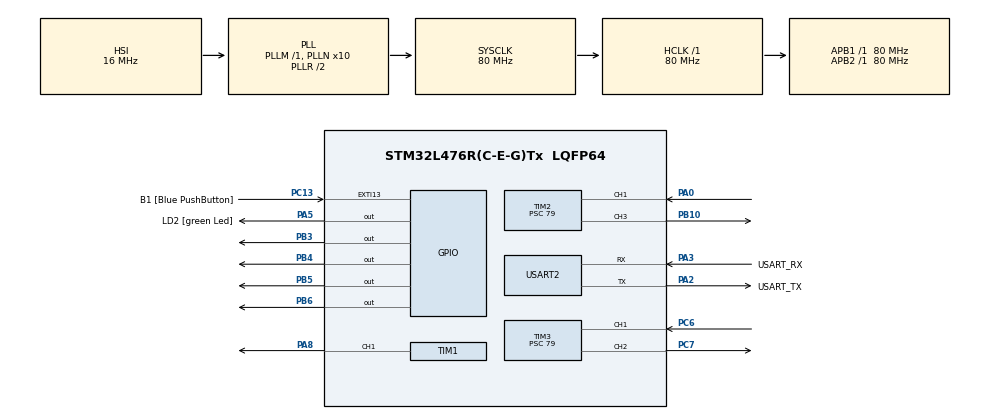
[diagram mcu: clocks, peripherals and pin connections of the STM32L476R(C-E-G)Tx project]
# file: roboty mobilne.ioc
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Mcu.Family=STM32L4
Mcu.Name=STM32L476R(C-E-G)Tx
Mcu.Package=LQFP64
NVIC.PriorityGroup=NVIC_PRIORITYGROUP_4
NVIC.USART2_IRQn=true\:0\:0\:false\:false\:true\:true\:true\:true
PA0.Signal=S_TIM2_CH1
PA13\ (JTMS-SWDIO).GPIO_Label=TMS
PA13\ (JTMS-SWDIO).Mode=Serial_Wire
PA13\ (JTMS-SWDIO).Signal=SYS_JTMS-SWDIO
PA14\ (JTCK-SWCLK).GPIO_Label=TCK
PA14\ (JTCK-SWCLK).Mode=Serial_Wire
PA14\ (JTCK-SWCLK).Signal=SYS_JTCK-SWCLK
PA2.GPIO_Label=USART_TX
PA2.GPIO_Mode=GPIO_MODE_AF_PP
PA2.GPIO_PuPd=GPIO_NOPULL
PA2.GPIO_Speed=GPIO_SPEED_FREQ_VERY_HIGH
PA2.Mode=Asynchronous
PA2.Signal=USART2_TX
PA3.GPIO_Label=USART_RX
PA3.GPIO_Mode=GPIO_MODE_AF_PP
PA3.GPIO_PuPd=GPIO_NOPULL
PA3.GPIO_Speed=GPIO_SPEED_FREQ_VERY_HIGH
PA3.Mode=Asynchronous
PA3.Signal=USART2_RX
PA5.GPIO_Label=LD2 [green Led]
PA5.GPIO_ModeDefaultOutputPP=GPIO_MODE_OUTPUT_PP
PA5.GPIO_PuPd=GPIO_NOPULL
PA5.GPIO_Speed=GPIO_SPEED_FREQ_LOW
PA5.Signal=GPIO_Output
PA8.Signal=S_TIM1_CH1
PB10.Signal=S_TIM2_CH3
PB3\ (JTDO-TRACESWO).Signal=GPIO_Output
PB4\ (NJTRST).Signal=GPIO_Output
PB5.Signal=GPIO_Output
PB6.Signal=GPIO_Output
PC13.GPIO_Label=B1 [Blue PushButton]
PC13.GPIO_ModeDefaultEXTI=GPIO_MODE_IT_FALLING
PC13.GPIO_PuPd=GPIO_NOPULL
PC13.Signal=GPXTI13
PC14-OSC32_IN\ (PC14).Mode=LSE-External-Oscillator
PC14-OSC32_IN\ (PC14).Signal=RCC_OSC32_IN
PC15-OSC32_OUT\ (PC15).Mode=LSE-External-Oscillator
PC15-OSC32_OUT\ (PC15).Signal=RCC_OSC32_OUT
PC6.Signal=S_TIM3_CH1
PC7.Signal=S_TIM3_CH2
PH0-OSC_IN\ (PH0).Signal=RCC_OSC_IN
PH1-OSC_OUT\ (PH1).Signal=RCC_OSC_OUT
ProjectManager.HeapSize=0x200
ProjectManager.StackSize=0x400
ProjectManager.TargetToolchain=STM32CubeIDE
RCC.ADCFreq_Value=64000000
RCC.AHBFreq_Value=80000000
RCC.APB1Freq_Value=80000000
RCC.APB1TimFreq_Value=80000000
RCC.APB2Freq_Value=80000000
RCC.APB2TimFreq_Value=80000000
RCC.CortexFreq_Value=80000000
RCC.HCLKFreq_Value=80000000
RCC.HSE_VALUE=8000000
RCC.HSI_VALUE=16000000
RCC.MSI_VALUE=4000000
RCC.PLLN=10
RCC.PLLSourceVirtual=RCC_PLLSOURCE_HSI
RCC.PREFETCH_ENABLE=1
RCC.SYSCLKFreq_VALUE=80000000
RCC.SYSCLKSource=RCC_SYSCLKSOURCE_PLLCLK
RCC.USBFreq_Value=64000000
RCC.VCOOutputFreq_Value=160000000
SH.S_TIM1_CH1.0=TIM1_CH1,PWM Generation1 CH1
SH.S_TIM2_CH1.0=TIM2_CH1,Input_Capture1_from_TI1
SH.S_TIM2_CH3.0=TIM2_CH3,PWM Generation3 CH3
SH.S_TIM3_CH1.0=TIM3_CH1,Input_Capture1_from_TI1
SH.S_TIM3_CH2.0=TIM3_CH2,PWM Generation2 CH2
TIM1.Channel-PWM\ Generation1\ CH1=TIM_CHANNEL_1
TIM1.Period=999
TIM1.Prescaler=79
TIM2.Channel-Input_Capture1_from_TI1=TIM_CHANNEL_1
TIM2.Channel-PWM\ Generation3\ CH3=TIM_CHANNEL_3
TIM2.Period=999
TIM2.Prescaler=79
TIM2.Pulse-PWM\ Generation3\ CH3=10
TIM3.Channel-Input_Capture1_from_TI1=TIM_CHANNEL_1
TIM3.Channel-PWM\ Generation2\ CH2=TIM_CHANNEL_2
TIM3.ICPolarity_CH1=TIM_INPUTCHANNELPOLARITY_FALLING
TIM3.Period=999999
TIM3.Prescaler=79
TIM3.Pulse-PWM\ Generation2\ CH2=10
USART2.VirtualMode-Asynchronous=VM_ASYNC
VP_TIM1_VS_ClockSourceINT.Mode=Internal
VP_TIM2_VS_ClockSourceINT.Mode=Internal
VP_TIM3_VS_ClockSourceINT.Mode=Internal
board=NUCLEO-L476RG

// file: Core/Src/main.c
/* USER CODE BEGIN Header */
/**
  ******************************************************************************
  * @file           : main.c
  * @brief          : Main program body
  ******************************************************************************
  * @attention
  *
  * Copyright (c) 2024 STMicroelectronics.
  * All rights reserved.
  *
  * This software is licensed under terms that can be found in the LICENSE file
  * in the root directory of this software component.
  * If no LICENSE file comes with this software, it is provided AS-IS.
  *
  ******************************************************************************
  */
/* USER CODE END Header */
#include "main.h"
#include "tim.h"
#include "usart.h"
#include "gpio.h"

/* USER CODE BEGIN Includes */
#include <string.h>
#include <stdlib.h>
#include <stdio.h>
/* USER CODE END Includes */

void SystemClock_Config(void);

/* USER CODE BEGIN 0 */

int x=800;
int left,right;
char tx_buffer[27]="L75R80DFC0X";
char array[27]="";
char receive[1]="N";
int length = sizeof(tx_buffer) / sizeof(char);
enum DIRECTION  {FRONT,BACK,LEFT,RIGHT,NONE};
enum DIRECTION direction = NONE;
uint32_t cm_value = 1000;
int sumCharArray(const char *array, int length) {
    int sum = 0;
    for (int i = 0; i < length; ++i) {
        sum += array[i];
    }
    return sum;
}
void intToCharArray(int number, char *result) {
    sprintf(result, "%d", number);
}

void senddata(){
//	memset(tx_buffer, '\0', sizeof(tx_buffer));
//	mem	set(array, '\0', sizeof(array));
	int abc=0;
	if(receive[0]==70){
			receive[0]='F';

		}
		else if(receive[0]==66){
			receive[0]='B';;

		}
		else if(receive[0]==76){
			receive[0]='L';

		}
		else if(receive[0]==82){
			receive[0]='R';

		}
		else{
			receive[0]='N';
		}
	if(cm_value>20){
		abc=0;
	}
	else
		abc=1;
	char tx_buffer[27]="";
	char buffer[27];
	strcat(tx_buffer,"l");
	sprintf(buffer,"%d", left/10);
	strcat(tx_buffer,buffer);
	strcat(tx_buffer,"r");
	sprintf(buffer,"%d", right/10);
	strcat(tx_buffer,buffer);
	strcat(tx_buffer,"D");
	sprintf(buffer,"%d", receive[0]);
	strcat(tx_buffer,buffer);
	strcat(tx_buffer,"C");
	sprintf(buffer,"%d", abc);
	strcat(tx_buffer,buffer);
	strcat(tx_buffer,"X");
	int sum=sumCharArray(tx_buffer, length);

	intToCharArray(sum, array);

	strcat(tx_buffer,array);
	HAL_UART_Transmit(&huart2, tx_buffer, 27, 10);
}
void changedir(){
	 left=x;
	 right=x;
	 TIM1->CCR1 = left;
	 TIM2->CCR3 = right;
	if(receive[0]==70){
		direction=FRONT;

	}
	else if(receive[0]==66){
		direction=BACK;

	}
	else if(receive[0]==76){
		direction=LEFT;

	}
	else if(receive[0]==82){
		direction=RIGHT;

	}
	else if(receive[0]==48){
		x=0;
	}
	else if(receive[0]==49){
		x=200;
	}
	else if(receive[0]==50){
		x=400;
		}
	else if(receive[0]==51){
		x=600;
		}
	else if(receive[0]==52){
		x=800;
		}
	else if(receive[0]==53){
		x=1000;
		}

	else{
		direction=NONE;

		 left=0;
		 right=0;
	}

	if(direction==FRONT){
				 HAL_GPIO_WritePin(GPIOB, GPIO_PIN_4, 1);
				 HAL_GPIO_WritePin(GPIOB, GPIO_PIN_5, 0);
				 HAL_GPIO_WritePin(GPIOB, GPIO_PIN_3, 1);
				 HAL_GPIO_WritePin(GPIOB, GPIO_PIN_6, 0);
	}
	else if(direction==BACK){
				 HAL_GPIO_WritePin(GPIOB, GPIO_PIN_4, 0);
				 HAL_GPIO_WritePin(GPIOB, GPIO_PIN_5, 1);
				 HAL_GPIO_WritePin(GPIOB, GPIO_PIN_3, 0);
				 HAL_GPIO_WritePin(GPIOB, GPIO_PIN_6, 1);
	}
	else if(direction==RIGHT){
		 HAL_GPIO_WritePin(GPIOB, GPIO_PIN_4, 1);
		 HAL_GPIO_WritePin(GPIOB, GPIO_PIN_5, 0);
		 HAL_GPIO_WritePin(GPIOB, GPIO_PIN_3, 0);
		 HAL_GPIO_WritePin(GPIOB, GPIO_PIN_6, 1);
		}
	else if(direction==LEFT){
		 HAL_GPIO_WritePin(GPIOB, GPIO_PIN_4, 0);
		 HAL_GPIO_WritePin(GPIOB, GPIO_PIN_5, 1);
		 HAL_GPIO_WritePin(GPIOB, GPIO_PIN_3, 1);
		 HAL_GPIO_WritePin(GPIOB, GPIO_PIN_6, 0);
		}
	else{
		 HAL_GPIO_WritePin(GPIOB, GPIO_PIN_4, 0);
		 HAL_GPIO_WritePin(GPIOB, GPIO_PIN_5, 0);
		 HAL_GPIO_WritePin(GPIOB, GPIO_PIN_3, 0);
		 HAL_GPIO_WritePin(GPIOB, GPIO_PIN_6, 0);
	}
}
/* USER CODE END 0 */

int main(void)
{

  /* MCU Configuration--------------------------------------------------------*/

  /* Reset of all peripherals, Initializes the Flash interface and the Systick. */
  HAL_Init();

  /* Configure the system clock */
  SystemClock_Config();

  /* Initialize all configured peripherals */
  MX_GPIO_Init();
  MX_USART2_UART_Init();
  MX_TIM1_Init();
  MX_TIM2_Init();
  MX_TIM3_Init();
  /* USER CODE BEGIN 2 */

	 left=x;
	 right=x;
//	 HAL_GPIO_WritePin(GPIOB, GPIO_PIN_4, 1);
//	 HAL_GPIO_WritePin(GPIOB, GPIO_PIN_5, 0);
//	 HAL_GPIO_WritePin(GPIOB, GPIO_PIN_3, 1);
//	 HAL_GPIO_WritePin(GPIOB, GPIO_PIN_6, 0);
	 TIM1->CCR1 = left;
	 TIM2->CCR3 = right;
	 HAL_TIM_PWM_Start(&htim1, TIM_CHANNEL_1);
	 HAL_TIM_PWM_Start(&htim2, TIM_CHANNEL_3);

	 HAL_TIM_IC_Start(&htim3, TIM_CHANNEL_1);
	 HAL_TIM_PWM_Start(&htim3, TIM_CHANNEL_2);

	 uint32_t current_time_led = HAL_GetTick();
	 uint32_t current_time_sensor = HAL_GetTick();
	 uint32_t value = 0;

  /* USER CODE END 2 */

  /* Infinite loop */
  /* USER CODE BEGIN WHILE */
  while (1)
  {
	 //	  receive[0]="N";
    /* USER CODE END WHILE */

    /* USER CODE BEGIN 3 */

		  if(current_time_sensor + 100 < HAL_GetTick()){
	  	  value = HAL_TIM_ReadCapturedValue(&htim3, TIM_CHANNEL_1);
	  	  cm_value = ((value - 2235) / 58.0f); //2235
	  	 }

		  if(cm_value < 6){
			  HAL_GPIO_WritePin(LD2_GPIO_Port, LD2_Pin, 1);
		  }
		  else if(cm_value > 150){
			  HAL_GPIO_WritePin(LD2_GPIO_Port, LD2_Pin, 0);
		  }
		  else if(current_time_led + (cm_value * 10) < HAL_GetTick()){
	  		  HAL_GPIO_TogglePin(LD2_GPIO_Port, LD2_Pin);
	  		  current_time_led = HAL_GetTick();
	  	  }

//	 if(HAL_GetTick()%4000>2000){
//		 left=x;
//		 right=x;
//		 HAL_GPIO_WritePin(GPIOB, GPIO_PIN_4, 1);
//		 HAL_GPIO_WritePin(GPIOB, GPIO_PIN_5, 0);
//		 HAL_GPIO_WritePin(GPIOB, GPIO_PIN_3, 1);
//		 HAL_GPIO_WritePin(GPIOB, GPIO_PIN_6, 0);
//		 TIM1->CCR1 = left;
//		 TIM2->CCR3 = right;
//		 HAL_TIM_PWM_Start(&htim1, TIM_CHANNEL_1);
//		 HAL_TIM_PWM_Start(&htim2, TIM_CHANNEL_3);

//	 }
//	 else{
//		 left=x;
//		 right=x;
//		 HAL_GPIO_WritePin(GPIOB, GPIO_PIN_4, 0);
//		 HAL_GPIO_WritePin(GPIOB, GPIO_PIN_5, 1);
//		 HAL_GPIO_WritePin(GPIOB, GPIO_PIN_3, 1);
//		 HAL_GPIO_WritePin(GPIOB, GPIO_PIN_6, 0);
//		 TIM1->CCR1 = left;
//		 TIM2->CCR3 = right;
//		 HAL_TIM_PWM_Start(&htim1, TIM_CHANNEL_1);
//		 HAL_TIM_PWM_Start(&htim2, TIM_CHANNEL_3);
//
//	 }
//	 if(HAL_GetTick()%1000>980){
//		 senddata();
//	 }

//	 x=x+10;
////	 left=x;
////	 right=x;
//	 if(x==1000){
//		 x=500;
//	 }
	 senddata();
	 HAL_UART_Receive(&huart2, receive,4,100);
	 changedir();

//	 x++;
//	 left=x;
//	 right=x;
//	 HAL_Delay(10);
//	 if(x==1000)
//		 x=200;
  }
  /* USER CODE END 3 */
}

void SystemClock_Config(void)
{
  RCC_OscInitTypeDef RCC_OscInitStruct = {0};
  RCC_ClkInitTypeDef RCC_ClkInitStruct = {0};

  /** Configure the main internal regulator output voltage
  */
  if (HAL_PWREx_ControlVoltageScaling(PWR_REGULATOR_VOLTAGE_SCALE1) != HAL_OK)
  {
    Error_Handler();
  }

  /** Initializes the RCC Oscillators according to the specified parameters
  * in the RCC_OscInitTypeDef structure.
  */
  RCC_OscInitStruct.OscillatorType = RCC_OSCILLATORTYPE_HSI;
  RCC_OscInitStruct.HSIState = RCC_HSI_ON;
  RCC_OscInitStruct.HSICalibrationValue = RCC_HSICALIBRATION_DEFAULT;
  RCC_OscInitStruct.PLL.PLLState = RCC_PLL_ON;
  RCC_OscInitStruct.PLL.PLLSource = RCC_PLLSOURCE_HSI;
  RCC_OscInitStruct.PLL.PLLM = 1;
  RCC_OscInitStruct.PLL.PLLN = 10;
  RCC_OscInitStruct.PLL.PLLP = RCC_PLLP_DIV7;
  RCC_OscInitStruct.PLL.PLLQ = RCC_PLLQ_DIV2;
  RCC_OscInitStruct.PLL.PLLR = RCC_PLLR_DIV2;
  if (HAL_RCC_OscConfig(&RCC_OscInitStruct) != HAL_OK)
  {
    Error_Handler();
  }

  /** Initializes the CPU, AHB and APB buses clocks
  */
  RCC_ClkInitStruct.ClockType = RCC_CLOCKTYPE_HCLK|RCC_CLOCKTYPE_SYSCLK
                              |RCC_CLOCKTYPE_PCLK1|RCC_CLOCKTYPE_PCLK2;
  RCC_ClkInitStruct.SYSCLKSource = RCC_SYSCLKSOURCE_PLLCLK;
  RCC_ClkInitStruct.AHBCLKDivider = RCC_SYSCLK_DIV1;
  RCC_ClkInitStruct.APB1CLKDivider = RCC_HCLK_DIV1;
  RCC_ClkInitStruct.APB2CLKDivider = RCC_HCLK_DIV1;

  if (HAL_RCC_ClockConfig(&RCC_ClkInitStruct, FLASH_LATENCY_4) != HAL_OK)
  {
    Error_Handler();
  }
}

void Error_Handler(void)
{
  __disable_irq();
  while (1)
  {
  }
}
